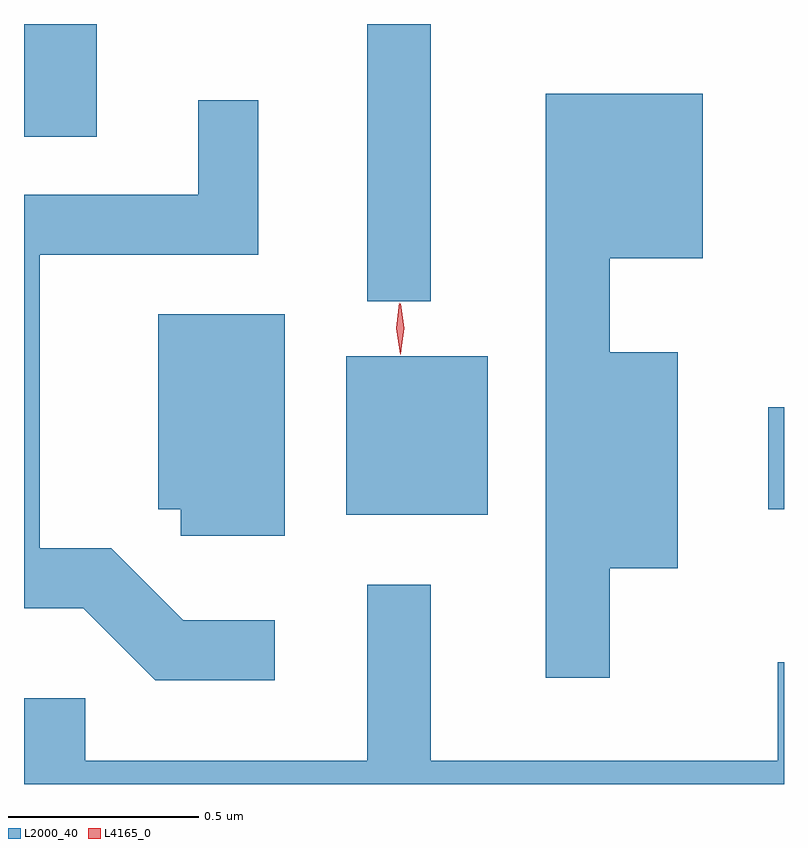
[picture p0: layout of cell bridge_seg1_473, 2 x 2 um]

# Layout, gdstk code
import gdstk
lib = gdstk.Library(unit=1e-6, precision=1e-09)
def R(c, l, rs):  # rectangles x0, y0, x1, y1
    for r in rs: c.add(gdstk.rectangle(r[:2], r[2:], *l))
def P(c, l, *ps):  # polygons
    for p in ps: c.add(gdstk.Polygon(p, *l))
L2000_40 = (2000, 40)
L4165_0 = (4165, 0)

bridge_seg1_473 = lib.new_cell('bridge_seg1_473')
R(bridge_seg1_473, L2000_40, [(401.406,904.931,401.779,905.349), (402.516,904.946,402.558,905.214), (401.461,905.493,401.629,906.223), (400.558,905.926,400.749,906.223)])
P(bridge_seg1_473, L2000_40, [(402.099,904.791),(402.279,904.791),(402.279,905.359),(402.099,905.359),(402.099,905.606),(402.344,905.606),(402.344,906.039),(401.931,906.039),(401.931,904.503),(402.099,904.503)],
  [(401.218,904.654),(400.977,904.654),(400.787,904.844),(400.599,904.844),(400.599,905.616),(401.174,905.616),(401.174,906.023),(401.016,906.023),(401.016,905.774),(400.558,905.774),(400.558,904.686),(400.714,904.686),(400.904,904.496),(401.218,904.496)],
  [(401.244,905.459),(400.911,905.459),(400.911,904.946),(400.971,904.946),(400.971,904.876),(401.244,904.876)],
  [(402.558,904.544),(402.541,904.544),(402.541,904.284),(401.629,904.284),(401.629,904.748),(401.461,904.748),(401.461,904.284),(400.719,904.284),(400.719,904.449),(400.558,904.449),(400.558,904.223),(402.558,904.223)])
P(bridge_seg1_473, L4165_0, [(401.55,905.358),(401.55,905.358),(401.54,905.422),(401.548,905.487),(401.549,905.487),(401.55,905.487),(401.559,905.423),(401.55,905.358)],
  [(401.548,905.354),(401.537,905.422),(401.545,905.49),(401.545,905.49),(401.546,905.49),(401.557,905.422),(401.549,905.354),(401.549,905.354)])

lib.write_gds('bridge_seg1_473.gds')
